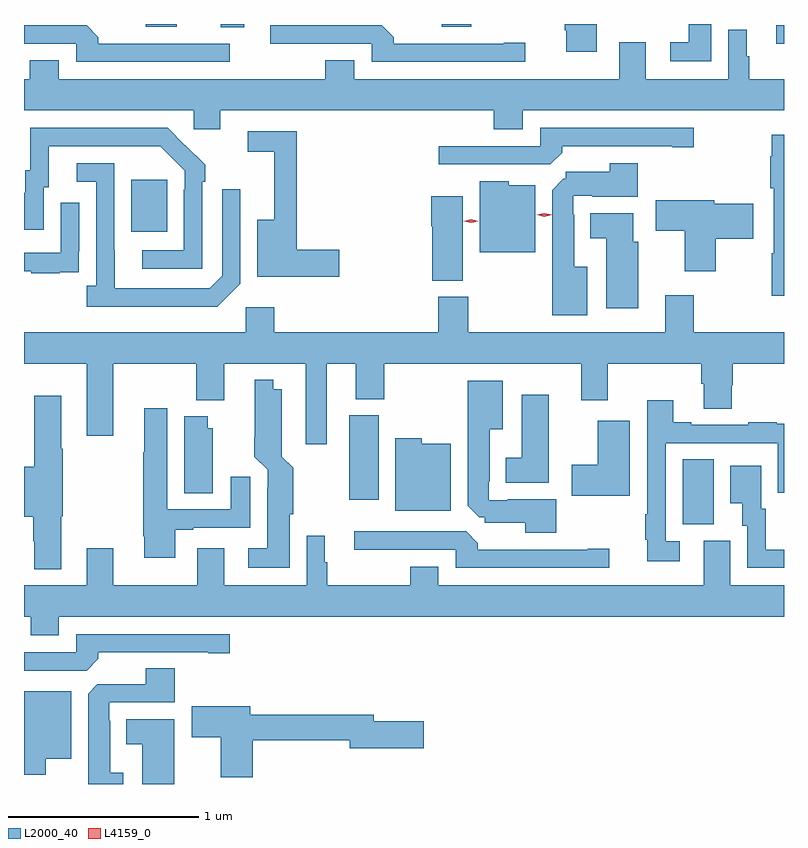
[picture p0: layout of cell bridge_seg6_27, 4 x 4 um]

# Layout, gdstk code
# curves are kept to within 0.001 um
import gdstk
lib = gdstk.Library(unit=1e-6, precision=1e-09)
def R(c, l, rs):  # rectangles x0, y0, x1, y1
    for r in rs: c.add(gdstk.rectangle(r[:2], r[2:], *l))
def P(c, l, *ps):  # polygons
    for p in ps: c.add(gdstk.Polygon(p, *l))
L2000_40 = (2000, 40)
L4159_0 = (4159, 0)

bridge_seg6_27 = lib.new_cell('bridge_seg6_27')
R(bridge_seg6_27, L2000_40, [(1082.18,985.117,1082.344,985.46), (1080.425,985.248,1080.58,985.692), (1079.279,986.657,1079.467,986.932), (1082.673,987.648,1082.714,987.744), (1079.75,987.735,1079.872,987.751), (1079.354,987.737,1079.518,987.751), (1080.912,987.737,1081.069,987.751)])
P(bridge_seg6_27, L2000_40, [(1081.729,987.751),(1081.561,987.751),(1081.561,987.718),(1081.568,987.718),(1081.568,987.606),(1081.729,987.606)],
  [(1082.332,987.751),(1082.213,987.751),(1082.213,987.655),(1082.115,987.655),(1082.115,987.554),(1082.332,987.554)],
  [(1081.351,987.653),(1081.238,987.653),(1081.238,987.648),(1080.659,987.648),(1080.659,987.682),(1080.597,987.744),(1080.009,987.744),(1080.009,987.648),(1080.543,987.648),(1080.543,987.552),(1081.351,987.552)],
  [(1079.797,987.648),(1079.105,987.648),(1079.105,987.682),(1079.043,987.744),(1078.714,987.744),(1078.714,987.648),(1078.989,987.648),(1078.989,987.552),(1079.797,987.552)],
  [(1081.187,987.197),(1081.339,987.197),(1081.339,987.296),(1082.714,987.296),(1082.714,987.46),(1082.53,987.46),(1082.53,987.582),(1082.518,987.582),(1082.518,987.721),(1082.421,987.721),(1082.421,987.46),(1081.987,987.46),(1081.987,987.655),(1081.847,987.655),(1081.847,987.46),(1080.451,987.46),(1080.451,987.559),(1080.299,987.559),(1080.299,987.46),(1078.897,987.46),(1078.897,987.559),(1078.745,987.559),(1078.745,987.46),(1078.714,987.46),(1078.714,987.296),(1079.607,987.296),(1079.607,987.198),(1079.746,987.198),(1079.746,987.296),(1081.187,987.296)],
  [(1079.652,986.921),(1079.667,986.921),(1079.667,987.009),(1079.47,987.204),(1078.746,987.204),(1078.746,986.982),(1078.721,986.982),(1078.721,986.863),(1078.714,986.863),(1078.714,986.667),(1078.819,986.667),(1078.819,986.892),(1078.843,986.892),(1078.843,987.108),(1079.431,987.108),(1079.559,986.979),(1079.559,986.879),(1079.556,986.879),(1079.556,986.559),(1079.337,986.559),(1079.337,986.463),(1079.652,986.463)],
  [(1081.547,987.074),(1081.547,987.108),(1082.126,987.108),(1082.126,987.103),(1082.239,987.103),(1082.239,987.204),(1081.431,987.204),(1081.431,987.108),(1080.897,987.108),(1080.897,987.012),(1081.485,987.012)],
  [(1080.373,986.564),(1080.149,986.564),(1080.149,987.186),(1079.892,987.186),(1079.892,987.078),(1080.032,987.078),(1080.032,986.722),(1079.942,986.722),(1079.942,986.422),(1080.373,986.422)],
  [(1082.714,987.169),(1082.649,987.169),(1082.649,987.056),(1082.641,987.056),(1082.641,986.887),(1082.661,986.887),(1082.661,986.544),(1082.649,986.544),(1082.649,986.322),(1082.714,986.322)],
  [(1081.678,986.473),(1081.609,986.473),(1081.609,986.747),(1081.605,986.747),(1081.605,986.847),(1081.705,986.847),(1081.705,986.843),(1081.945,986.843),(1081.945,987.019),(1081.796,987.019),(1081.796,986.973),(1081.566,986.973),(1081.566,986.937),(1081.553,986.937),(1081.493,986.877),(1081.493,986.219),(1081.678,986.219)],
  [(1079.853,986.385),(1079.853,986.881),(1079.757,986.881),(1079.757,986.427),(1079.691,986.361),(1079.191,986.361),(1079.19,987.018),(1078.992,987.018),(1078.992,986.922),(1079.094,986.922),(1079.094,986.374),(1079.043,986.374),(1079.043,986.264),(1079.732,986.264)],
  [(1081.405,986.902),(1081.266,986.902),(1081.266,986.923),(1081.112,986.923),(1081.112,986.549),(1081.405,986.549)],
  [(1081.024,986.845),(1080.857,986.845),(1080.857,986.687),(1080.862,986.687),(1080.862,986.401),(1081.024,986.401)],
  [(1082.355,986.621),(1082.551,986.621),(1082.551,986.804),(1082.347,986.804),(1082.347,986.824),(1082.04,986.824),(1082.04,986.662),(1082.192,986.662),(1082.192,986.451),(1082.355,986.451)],
  [(1078.901,986.445),(1079.003,986.445),(1079.003,986.554),(1079.004,986.554),(1079.004,986.809),(1078.908,986.809),(1078.908,986.547),(1078.714,986.547),(1078.714,986.451),(1078.753,986.451),(1078.753,986.439),(1078.901,986.439)],
  [(1081.948,986.604),(1081.921,986.604),(1081.921,986.755),(1081.694,986.755),(1081.694,986.624),(1081.778,986.624),(1081.778,986.256),(1081.948,986.256)],
  [(1080.307,985.964),(1080.461,985.964),(1080.461,985.777),(1080.609,985.777),(1080.609,985.964),(1081.646,985.964),(1081.646,985.77),(1081.786,985.77),(1081.786,985.964),(1082.279,985.964),(1082.279,985.858),(1082.291,985.858),(1082.291,985.726),(1082.439,985.726),(1082.439,985.851),(1082.444,985.851),(1082.444,985.964),(1082.714,985.964),(1082.714,986.128),(1082.238,986.128),(1082.238,986.323),(1082.09,986.323),(1082.09,986.128),(1081.053,986.128),(1081.053,986.316),(1080.893,986.316),(1080.893,986.128),(1080.032,986.128),(1080.032,986.26),(1079.88,986.26),(1079.88,986.128),(1078.714,986.128),(1078.714,985.964),(1079.045,985.964),(1079.045,985.584),(1079.185,985.584),(1079.185,985.964),(1079.62,985.964),(1079.62,985.772),(1079.767,985.772),(1079.767,985.964),(1080.197,985.964),(1080.197,985.539),(1080.307,985.539)],
  [(1080.112,985.17),(1080.13,985.17),(1080.13,985.415),(1080.071,985.474),(1080.07,985.828),(1080.025,985.828),(1080.025,985.879),(1079.928,985.879),(1079.927,985.474),(1079.997,985.404),(1079.997,985.31),(1079.993,985.31),(1079.993,984.991),(1079.895,984.991),(1079.895,984.89),(1080.112,984.89)],
  [(1081.516,985.249),(1081.261,985.249),(1081.261,985.245),(1081.161,985.245),(1081.161,985.345),(1081.165,985.345),(1081.165,985.619),(1081.234,985.619),(1081.234,985.873),(1081.049,985.873),(1081.049,985.215),(1081.109,985.155),(1081.14,985.155),(1081.14,985.127),(1081.352,985.127),(1081.352,985.073),(1081.516,985.073)],
  [(1081.477,985.801),(1081.334,985.801),(1081.334,985.468),(1081.25,985.468),(1081.25,985.337),(1081.477,985.337)],
  [(1078.909,985.161),(1078.917,985.161),(1078.917,985.516),(1078.909,985.516),(1078.909,985.795),(1078.769,985.795),(1078.769,985.42),(1078.714,985.42),(1078.714,985.157),(1078.762,985.157),(1078.762,985.028),(1078.769,985.028),(1078.769,984.882),(1078.909,984.882)],
  [(1082.164,985.029),(1082.091,985.029),(1082.091,985.545),(1082.682,985.545),(1082.682,985.284),(1082.714,985.284),(1082.714,985.647),(1082.675,985.647),(1082.675,985.654),(1082.527,985.654),(1082.527,985.641),(1082.227,985.641),(1082.227,985.654),(1082.131,985.654),(1082.131,985.771),(1081.995,985.771),(1081.995,985.172),(1081.983,985.172),(1081.983,985.036),(1081.994,985.036),(1081.994,984.924),(1082.164,984.924)],
  [(1079.509,985.089),(1079.605,985.089),(1079.605,985.101),(1079.905,985.101),(1079.905,985.369),(1079.801,985.369),(1079.801,985.197),(1079.467,985.197),(1079.467,985.729),(1079.348,985.729),(1079.348,985.496),(1079.341,985.496),(1079.341,985.054),(1079.348,985.054),(1079.348,984.942),(1079.509,984.942)],
  [(1079.707,985.623),(1079.68,985.623),(1079.68,985.687),(1079.558,985.687),(1079.558,985.282),(1079.707,985.282)],
  [(1081.903,985.663),(1081.733,985.663),(1081.733,985.431),(1081.596,985.431),(1081.596,985.268),(1081.903,985.268)],
  [(1080.961,985.543),(1080.807,985.543),(1080.807,985.57),(1080.668,985.57),(1080.668,985.19),(1080.961,985.19)],
  [(1082.714,984.984),(1082.617,984.984),(1082.617,985.2),(1082.593,985.2),(1082.593,985.426),(1082.432,985.426),(1082.432,985.229),(1082.495,985.229),(1082.495,985.11),(1082.52,985.11),(1082.52,984.888),(1082.714,984.888)],
  [(1081.795,984.989),(1081.682,984.989),(1081.682,984.984),(1081.103,984.984),(1081.103,985.018),(1081.041,985.08),(1080.453,985.08),(1080.453,984.984),(1080.987,984.984),(1080.987,984.888),(1081.795,984.888)],
  [(1082.714,984.796),(1082.431,984.796),(1082.431,985.032),(1082.291,985.032),(1082.291,984.796),(1080.895,984.796),(1080.895,984.895),(1080.748,984.895),(1080.748,984.796),(1080.31,984.796),(1080.31,984.918),(1080.298,984.918),(1080.298,985.057),(1080.201,985.057),(1080.201,984.796),(1079.767,984.796),(1079.767,984.991),(1079.627,984.991),(1079.627,984.796),(1079.185,984.796),(1079.185,984.991),(1079.045,984.991),(1079.045,984.796),(1078.714,984.796),(1078.714,984.632),(1078.75,984.632),(1078.75,984.533),(1078.897,984.533),(1078.897,984.632),(1082.714,984.632)],
  [(1079.105,984.41),(1079.105,984.444),(1079.684,984.444),(1079.684,984.439),(1079.797,984.439),(1079.797,984.54),(1078.989,984.54),(1078.989,984.444),(1078.714,984.444),(1078.714,984.348),(1079.043,984.348)],
  [(1079.236,983.809),(1079.167,983.809),(1079.167,984.083),(1079.163,984.083),(1079.163,984.18),(1079.507,984.18),(1079.507,984.359),(1079.354,984.359),(1079.354,984.276),(1079.1,984.276),(1079.051,984.227),(1079.051,983.751),(1079.236,983.751)],
  [(1078.828,983.885),(1078.963,983.885),(1078.963,984.238),(1078.714,984.238),(1078.714,983.799),(1078.828,983.799)],
  [(1079.918,983.98),(1080.428,983.98),(1080.428,983.938),(1080.817,983.938),(1080.817,984.08),(1080.556,984.08),(1080.556,984.116),(1079.905,984.116),(1079.905,984.16),(1079.598,984.16),(1079.598,983.998),(1079.75,983.998),(1079.75,983.787),(1079.918,983.787)],
  [(1079.506,984.091),(1079.252,984.091),(1079.252,983.96),(1079.336,983.96),(1079.336,983.751),(1079.506,983.751)])
P(bridge_seg6_27, L4159_0, [(1081.067,986.704),(1081.029,986.713),(1081.029,986.714),(1081.029,986.714),(1081.067,986.724),(1081.105,986.714),(1081.105,986.714),(1081.105,986.713)],
  [(1081.453,986.736),(1081.412,986.746),(1081.412,986.746),(1081.412,986.746),(1081.453,986.756),(1081.494,986.746),(1081.494,986.746),(1081.494,986.746)])

lib.write_gds('bridge_seg6_27.gds')
